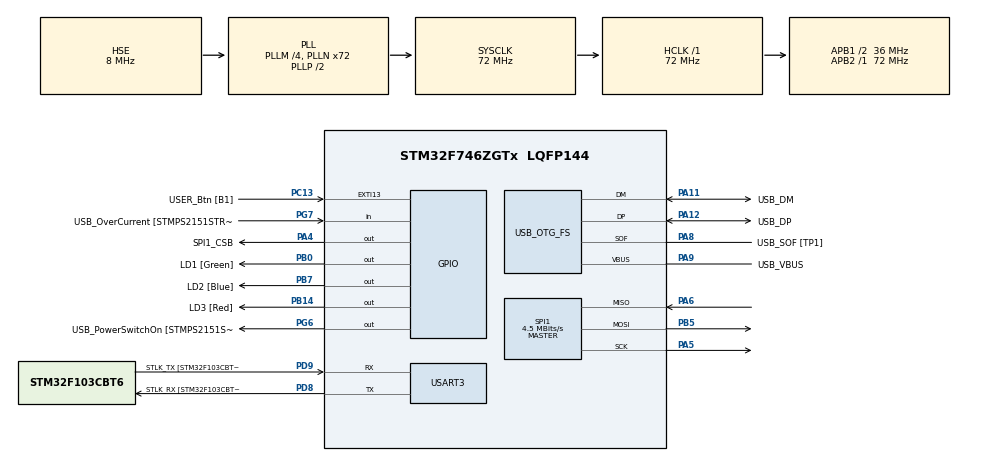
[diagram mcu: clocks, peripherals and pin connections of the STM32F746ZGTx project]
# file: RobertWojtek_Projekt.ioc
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Mcu.Family=STM32F7
Mcu.Name=STM32F746ZGTx
Mcu.Package=LQFP144
NVIC.PriorityGroup=NVIC_PRIORITYGROUP_4
PA1.GPIO_Label=RMII_REF_CLK [LAN8742A-CZ-TR_REFCLK0]
PA1.Signal=ETH_REF_CLK
PA10.GPIO_Label=USB_ID
PA10.Signal=USB_OTG_FS_ID
PA11.GPIO_Label=USB_DM
PA11.Mode=Device_Only
PA11.Signal=USB_OTG_FS_DM
PA12.GPIO_Label=USB_DP
PA12.Mode=Device_Only
PA12.Signal=USB_OTG_FS_DP
PA13.GPIO_Label=TMS
PA13.Mode=Serial_Wire
PA13.Signal=SYS_JTMS-SWDIO
PA14.GPIO_Label=TCK
PA14.Mode=Serial_Wire
PA14.Signal=SYS_JTCK-SWCLK
PA2.GPIO_Label=RMII_MDIO [LAN8742A-CZ-TR_MDIO]
PA2.Signal=ETH_MDIO
PA4.GPIO_Label=SPI1_CSB
PA4.Signal=GPIO_Output
PA5.Mode=Full_Duplex_Master
PA5.Signal=SPI1_SCK
PA6.Mode=Full_Duplex_Master
PA6.Signal=SPI1_MISO
PA7.GPIO_Label=RMII_CRS_DV [LAN8742A-CZ-TR_CRS_DV]
PA7.Signal=ETH_CRS_DV
PA8.GPIO_Label=USB_SOF [TP1]
PA8.Mode=Activate_SOF_FS
PA8.Signal=USB_OTG_FS_SOF
PA9.GPIO_Label=USB_VBUS
PA9.Mode=Activate_VBUS
PA9.Signal=USB_OTG_FS_VBUS
PB0.GPIO_Label=LD1 [Green]
PB0.Signal=GPIO_Output
PB13.GPIO_Label=RMII_TXD1 [LAN8742A-CZ-TR_TXD1]
PB13.Signal=ETH_TXD1
PB14.GPIO_Label=LD3 [Red]
PB14.Signal=GPIO_Output
PB3.GPIO_Label=SW0
PB3.Signal=SYS_JTDO-SWO
PB5.Mode=Full_Duplex_Master
PB5.Signal=SPI1_MOSI
PB7.GPIO_Label=LD2 [Blue]
PB7.Signal=GPIO_Output
PC1.GPIO_Label=RMII_MDC [LAN8742A-CZ-TR_MDC]
PC1.Signal=ETH_MDC
PC13.GPIO_Label=USER_Btn [B1]
PC13.Signal=GPXTI13
PC14/OSC32_IN.Mode=LSE-External-Oscillator
PC14/OSC32_IN.Signal=RCC_OSC32_IN
PC15/OSC32_OUT.Mode=LSE-External-Oscillator
PC15/OSC32_OUT.Signal=RCC_OSC32_OUT
PC4.GPIO_Label=RMII_RXD0 [LAN8742A-CZ-TR_RXD0]
PC4.Signal=ETH_RXD0
PC5.GPIO_Label=RMII_RXD1 [LAN8742A-CZ-TR_RXD1]
PC5.Signal=ETH_RXD1
PD8.GPIO_Label=STLK_RX [STM32F103CBT6_PA3]
PD8.Mode=Asynchronous
PD8.Signal=USART3_TX
PD9.GPIO_Label=STLK_TX [STM32F103CBT6_PA2]
PD9.Mode=Asynchronous
PD9.Signal=USART3_RX
PG11.GPIO_Label=RMII_TX_EN [LAN8742A-CZ-TR_TXEN]
PG11.Signal=ETH_TX_EN
PG13.GPIO_Label=RMII_TXD0 [LAN8742A-CZ-TR_TXD0]
PG13.Signal=ETH_TXD0
PG6.GPIO_Label=USB_PowerSwitchOn [STMPS2151STR_EN]
PG6.Signal=GPIO_Output
PG7.GPIO_Label=USB_OverCurrent [STMPS2151STR_FAULT]
PG7.Signal=GPIO_Input
PH0/OSC_IN.GPIO_Label=MCO [STM32F103CBT6_PA8]
PH0/OSC_IN.Mode=HSE-External-Clock-Source
PH0/OSC_IN.Signal=RCC_OSC_IN
PH1/OSC_OUT.Mode=HSE-External-Clock-Source
PH1/OSC_OUT.Signal=RCC_OSC_OUT
ProjectManager.HeapSize=0x200
ProjectManager.StackSize=0x400
ProjectManager.TargetToolchain=STM32CubeIDE
RCC.48MHZClocksFreq_Value=24000000
RCC.AHBFreq_Value=72000000
RCC.APB1CLKDivider=RCC_HCLK_DIV2
RCC.APB1Freq_Value=36000000
RCC.APB1TimFreq_Value=72000000
RCC.APB2Freq_Value=72000000
RCC.APB2TimFreq_Value=72000000
RCC.CortexFreq_Value=72000000
RCC.HCLKFreq_Value=72000000
RCC.HSE_VALUE=8000000
RCC.HSI_VALUE=16000000
RCC.PLLM=4
RCC.PLLMUL=RCC_PLL_MUL9
RCC.PLLN=72
RCC.PLLQ=3
RCC.PRESCALERUSB=RCC_USBCLKSOURCE_PLL_DIV1_5
RCC.SYSCLKFreq_VALUE=72000000
RCC.SYSCLKSource=RCC_SYSCLKSOURCE_PLLCLK
RCC.SYSCLKSourceVirtual=RCC_SYSCLKSOURCE_PLLCLK
RCC.USBFreq_Value=48000000
RCC.VCOOutputFreq_Value=144000000
SPI1.BaudRatePrescaler=SPI_BAUDRATEPRESCALER_16
SPI1.CalculateBaudRate=4.5 MBits/s
SPI1.DataSize=SPI_DATASIZE_8BIT
SPI1.Direction=SPI_DIRECTION_2LINES
SPI1.Mode=SPI_MODE_MASTER
SPI1.VirtualType=VM_MASTER
USART3.VirtualMode-Asynchronous=VM_ASYNC
USB_OTG_FS.VirtualMode=Device_Only
board=NUCLEO-F746ZG

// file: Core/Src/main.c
/* USER CODE BEGIN Header */
/**
  ******************************************************************************
  * @file           : main.c
  * @brief          : Main program body
  ******************************************************************************
  * @attention
  *
  * Copyright (c) 2023 STMicroelectronics.
  * All rights reserved.
  *
  * This software is licensed under terms that can be found in the LICENSE file
  * in the root directory of this software component.
  * If no LICENSE file comes with this software, it is provided AS-IS.
  *
  ******************************************************************************
  */
/* USER CODE END Header */
#include "main.h"

/* USER CODE BEGIN Includes */
#include "BMPXX80.h"
#include <stdio.h>
#include <string.h>
/* USER CODE END Includes */

SPI_HandleTypeDef hspi1;

UART_HandleTypeDef huart3;

PCD_HandleTypeDef hpcd_USB_OTG_FS;

/* USER CODE BEGIN PV */
int set_value = 40;
float temperature;
int32_t pressure;

float e_sum_pid;

float u_DEBUG;
char text[100] = "";

/* USER CODE END PV */

void SystemClock_Config(void);
static void MX_GPIO_Init(void);
static void MX_USART3_UART_Init(void);
static void MX_USB_OTG_FS_PCD_Init(void);
static void MX_SPI1_Init(void);

/* USER CODE BEGIN 0 */
#define COUNTOF(_BUFF_) (sizeof(_BUFF_) / sizeof(*(_BUFF_)))
#define RESPOND(str) transmit(str, COUNTOF(str))

void transmit(char* stream, size_t length)
{
	HAL_UART_Transmit(&huart3, (uint8_t*)stream, length-1, 500);
	HAL_GPIO_WritePin(LD3_GPIO_Port, LD3_Pin, GPIO_PIN_SET);
	HAL_Delay(50);
	HAL_GPIO_WritePin(LD3_GPIO_Port, LD3_Pin, GPIO_PIN_RESET);
}

float pid(float y, float set, float* e_sum, float* last_e)
{
  float kp = 4;
  float ki = 0.006;
  float kd = 5;
  float Tp = // ??? Zapytac sie jak to dobrze zrobić

  float e = set - y;
  (*e_sum) = (*e_sum) + e;
  float e_diff = (*last_e) - e; // Możliwe że powinno być odwrocone
  (*last_e) = e;

  float p = kp * e;
  float i = ki * (*e_sum);
  float d = kd * e_diff;

	return p + i + d;
}

/* USER CODE END 0 */

int main(void)
{

  /* MCU Configuration--------------------------------------------------------*/

  /* Reset of all peripherals, Initializes the Flash interface and the Systick. */
  HAL_Init();

  /* Configure the system clock */
  SystemClock_Config();

  /* Initialize all configured peripherals */
  MX_GPIO_Init();
  MX_USART3_UART_Init();
  MX_USB_OTG_FS_PCD_Init();
  MX_SPI1_Init();
  /* USER CODE BEGIN 2 */

  BMP280_Init(&hspi1, BMP280_TEMPERATURE_16BIT, BMP280_STANDARD, BMP280_FORCEDMODE);

  /* USER CODE END 2 */

  /* Infinite loop */
  /* USER CODE BEGIN WHILE */
  float last_e_pid = 0;
  while (1)
  {
	  HAL_GPIO_TogglePin(LD1_GPIO_Port, LD1_Pin);

	  // COMMANDS
	  uint8_t key[4];
	  HAL_StatusTypeDef status = HAL_UART_Receive(&huart3, key, 4, 100);

	  if (status == HAL_OK)
	  {
		  RESPOND("Received ");
		  transmit((char*)key, 5);
		  RESPOND("\n\r");

		  if (key[0] == 'S')
		  {
			  RESPOND("Trying to set the temperature\n\r");
			  set_value = (key[1] - '0') * 100 + (key[2] - '0') * 10 + key[3] - '0';
		  }
	  }

	  // DATA READ
	  BMP280_ReadTemperatureAndPressure(&temperature, &pressure);

	  // PID
	  float u = pid(temperature, (float)set_value, &e_sum_pid, &last_e_pid);

	  // SET U
	  u_DEBUG = u;

	  // SENDING DATA OUT
	  snprintf(text, sizeof(text), "%.3f\n\r", (double)temperature);
	  transmit(text, strlen(text) + 1);

    /* USER CODE END WHILE */

  }
}

void SystemClock_Config(void)
{
  RCC_OscInitTypeDef RCC_OscInitStruct = {0};
  RCC_ClkInitTypeDef RCC_ClkInitStruct = {0};

  /** Configure LSE Drive Capability
  */
  HAL_PWR_EnableBkUpAccess();
  /** Configure the main internal regulator output voltage
  */
  __HAL_RCC_PWR_CLK_ENABLE();
  __HAL_PWR_VOLTAGESCALING_CONFIG(PWR_REGULATOR_VOLTAGE_SCALE3);
  /** Initializes the RCC Oscillators according to the specified parameters
  * in the RCC_OscInitTypeDef structure.
  */
  RCC_OscInitStruct.OscillatorType = RCC_OSCILLATORTYPE_HSE;
  RCC_OscInitStruct.HSEState = RCC_HSE_BYPASS;
  RCC_OscInitStruct.PLL.PLLState = RCC_PLL_ON;
  RCC_OscInitStruct.PLL.PLLSource = RCC_PLLSOURCE_HSE;
  RCC_OscInitStruct.PLL.PLLM = 4;
  RCC_OscInitStruct.PLL.PLLN = 72;
  RCC_OscInitStruct.PLL.PLLP = RCC_PLLP_DIV2;
  RCC_OscInitStruct.PLL.PLLQ = 3;
  if (HAL_RCC_OscConfig(&RCC_OscInitStruct) != HAL_OK)
  {
    Error_Handler();
  }
  /** Initializes the CPU, AHB and APB buses clocks
  */
  RCC_ClkInitStruct.ClockType = RCC_CLOCKTYPE_HCLK|RCC_CLOCKTYPE_SYSCLK
                              |RCC_CLOCKTYPE_PCLK1|RCC_CLOCKTYPE_PCLK2;
  RCC_ClkInitStruct.SYSCLKSource = RCC_SYSCLKSOURCE_PLLCLK;
  RCC_ClkInitStruct.AHBCLKDivider = RCC_SYSCLK_DIV1;
  RCC_ClkInitStruct.APB1CLKDivider = RCC_HCLK_DIV2;
  RCC_ClkInitStruct.APB2CLKDivider = RCC_HCLK_DIV1;

  if (HAL_RCC_ClockConfig(&RCC_ClkInitStruct, FLASH_LATENCY_2) != HAL_OK)
  {
    Error_Handler();
  }
}

static void MX_SPI1_Init(void)
{

  /* SPI1 parameter configuration*/
  hspi1.Instance = SPI1;
  hspi1.Init.Mode = SPI_MODE_MASTER;
  hspi1.Init.Direction = SPI_DIRECTION_2LINES;
  hspi1.Init.DataSize = SPI_DATASIZE_8BIT;
  hspi1.Init.CLKPolarity = SPI_POLARITY_LOW;
  hspi1.Init.CLKPhase = SPI_PHASE_1EDGE;
  hspi1.Init.NSS = SPI_NSS_SOFT;
  hspi1.Init.BaudRatePrescaler = SPI_BAUDRATEPRESCALER_16;
  hspi1.Init.FirstBit = SPI_FIRSTBIT_MSB;
  hspi1.Init.TIMode = SPI_TIMODE_DISABLE;
  hspi1.Init.CRCCalculation = SPI_CRCCALCULATION_DISABLE;
  hspi1.Init.CRCPolynomial = 7;
  hspi1.Init.CRCLength = SPI_CRC_LENGTH_DATASIZE;
  hspi1.Init.NSSPMode = SPI_NSS_PULSE_ENABLE;
  if (HAL_SPI_Init(&hspi1) != HAL_OK)
  {
    Error_Handler();
  }

}

static void MX_USART3_UART_Init(void)
{

  huart3.Instance = USART3;
  huart3.Init.BaudRate = 115200;
  huart3.Init.WordLength = UART_WORDLENGTH_8B;
  huart3.Init.StopBits = UART_STOPBITS_1;
  huart3.Init.Parity = UART_PARITY_NONE;
  huart3.Init.Mode = UART_MODE_TX_RX;
  huart3.Init.HwFlowCtl = UART_HWCONTROL_NONE;
  huart3.Init.OverSampling = UART_OVERSAMPLING_16;
  huart3.Init.OneBitSampling = UART_ONE_BIT_SAMPLE_DISABLE;
  huart3.AdvancedInit.AdvFeatureInit = UART_ADVFEATURE_NO_INIT;
  if (HAL_UART_Init(&huart3) != HAL_OK)
  {
    Error_Handler();
  }

}

static void MX_USB_OTG_FS_PCD_Init(void)
{

  hpcd_USB_OTG_FS.Instance = USB_OTG_FS;
  hpcd_USB_OTG_FS.Init.dev_endpoints = 6;
  hpcd_USB_OTG_FS.Init.speed = PCD_SPEED_FULL;
  hpcd_USB_OTG_FS.Init.dma_enable = DISABLE;
  hpcd_USB_OTG_FS.Init.phy_itface = PCD_PHY_EMBEDDED;
  hpcd_USB_OTG_FS.Init.Sof_enable = ENABLE;
  hpcd_USB_OTG_FS.Init.low_power_enable = DISABLE;
  hpcd_USB_OTG_FS.Init.lpm_enable = DISABLE;
  hpcd_USB_OTG_FS.Init.vbus_sensing_enable = ENABLE;
  hpcd_USB_OTG_FS.Init.use_dedicated_ep1 = DISABLE;
  if (HAL_PCD_Init(&hpcd_USB_OTG_FS) != HAL_OK)
  {
    Error_Handler();
  }

}

static void MX_GPIO_Init(void)
{
  GPIO_InitTypeDef GPIO_InitStruct = {0};

  /* GPIO Ports Clock Enable */
  __HAL_RCC_GPIOC_CLK_ENABLE();
  __HAL_RCC_GPIOH_CLK_ENABLE();
  __HAL_RCC_GPIOA_CLK_ENABLE();
  __HAL_RCC_GPIOB_CLK_ENABLE();
  __HAL_RCC_GPIOD_CLK_ENABLE();
  __HAL_RCC_GPIOG_CLK_ENABLE();

  /*Configure GPIO pin Output Level */
  HAL_GPIO_WritePin(SPI1_CSB_GPIO_Port, SPI1_CSB_Pin, GPIO_PIN_RESET);

  /*Configure GPIO pin Output Level */
  HAL_GPIO_WritePin(GPIOB, LD1_Pin|LD3_Pin|LD2_Pin, GPIO_PIN_RESET);

  /*Configure GPIO pin Output Level */
  HAL_GPIO_WritePin(USB_PowerSwitchOn_GPIO_Port, USB_PowerSwitchOn_Pin, GPIO_PIN_RESET);

  /*Configure GPIO pin : USER_Btn_Pin */
  GPIO_InitStruct.Pin = USER_Btn_Pin;
  GPIO_InitStruct.Mode = GPIO_MODE_IT_RISING;
  GPIO_InitStruct.Pull = GPIO_NOPULL;
  HAL_GPIO_Init(USER_Btn_GPIO_Port, &GPIO_InitStruct);

  /*Configure GPIO pins : RMII_MDC_Pin RMII_RXD0_Pin RMII_RXD1_Pin */
  GPIO_InitStruct.Pin = RMII_MDC_Pin|RMII_RXD0_Pin|RMII_RXD1_Pin;
  GPIO_InitStruct.Mode = GPIO_MODE_AF_PP;
  GPIO_InitStruct.Pull = GPIO_NOPULL;
  GPIO_InitStruct.Speed = GPIO_SPEED_FREQ_VERY_HIGH;
  GPIO_InitStruct.Alternate = GPIO_AF11_ETH;
  HAL_GPIO_Init(GPIOC, &GPIO_InitStruct);

  /*Configure GPIO pins : RMII_REF_CLK_Pin RMII_MDIO_Pin RMII_CRS_DV_Pin */
  GPIO_InitStruct.Pin = RMII_REF_CLK_Pin|RMII_MDIO_Pin|RMII_CRS_DV_Pin;
  GPIO_InitStruct.Mode = GPIO_MODE_AF_PP;
  GPIO_InitStruct.Pull = GPIO_NOPULL;
  GPIO_InitStruct.Speed = GPIO_SPEED_FREQ_VERY_HIGH;
  GPIO_InitStruct.Alternate = GPIO_AF11_ETH;
  HAL_GPIO_Init(GPIOA, &GPIO_InitStruct);

  /*Configure GPIO pin : SPI1_CSB_Pin */
  GPIO_InitStruct.Pin = SPI1_CSB_Pin;
  GPIO_InitStruct.Mode = GPIO_MODE_OUTPUT_PP;
  GPIO_InitStruct.Pull = GPIO_NOPULL;
  GPIO_InitStruct.Speed = GPIO_SPEED_FREQ_LOW;
  HAL_GPIO_Init(SPI1_CSB_GPIO_Port, &GPIO_InitStruct);

  /*Configure GPIO pins : LD1_Pin LD3_Pin LD2_Pin */
  GPIO_InitStruct.Pin = LD1_Pin|LD3_Pin|LD2_Pin;
  GPIO_InitStruct.Mode = GPIO_MODE_OUTPUT_PP;
  GPIO_InitStruct.Pull = GPIO_NOPULL;
  GPIO_InitStruct.Speed = GPIO_SPEED_FREQ_LOW;
  HAL_GPIO_Init(GPIOB, &GPIO_InitStruct);

  /*Configure GPIO pin : RMII_TXD1_Pin */
  GPIO_InitStruct.Pin = RMII_TXD1_Pin;
  GPIO_InitStruct.Mode = GPIO_MODE_AF_PP;
  GPIO_InitStruct.Pull = GPIO_NOPULL;
  GPIO_InitStruct.Speed = GPIO_SPEED_FREQ_VERY_HIGH;
  GPIO_InitStruct.Alternate = GPIO_AF11_ETH;
  HAL_GPIO_Init(RMII_TXD1_GPIO_Port, &GPIO_InitStruct);

  /*Configure GPIO pin : USB_PowerSwitchOn_Pin */
  GPIO_InitStruct.Pin = USB_PowerSwitchOn_Pin;
  GPIO_InitStruct.Mode = GPIO_MODE_OUTPUT_PP;
  GPIO_InitStruct.Pull = GPIO_NOPULL;
  GPIO_InitStruct.Speed = GPIO_SPEED_FREQ_LOW;
  HAL_GPIO_Init(USB_PowerSwitchOn_GPIO_Port, &GPIO_InitStruct);

  /*Configure GPIO pin : USB_OverCurrent_Pin */
  GPIO_InitStruct.Pin = USB_OverCurrent_Pin;
  GPIO_InitStruct.Mode = GPIO_MODE_INPUT;
  GPIO_InitStruct.Pull = GPIO_NOPULL;
  HAL_GPIO_Init(USB_OverCurrent_GPIO_Port, &GPIO_InitStruct);

  /*Configure GPIO pins : RMII_TX_EN_Pin RMII_TXD0_Pin */
  GPIO_InitStruct.Pin = RMII_TX_EN_Pin|RMII_TXD0_Pin;
  GPIO_InitStruct.Mode = GPIO_MODE_AF_PP;
  GPIO_InitStruct.Pull = GPIO_NOPULL;
  GPIO_InitStruct.Speed = GPIO_SPEED_FREQ_VERY_HIGH;
  GPIO_InitStruct.Alternate = GPIO_AF11_ETH;
  HAL_GPIO_Init(GPIOG, &GPIO_InitStruct);

}

void Error_Handler(void)
{
  __disable_irq();
  while (1)
  {
  }
}
